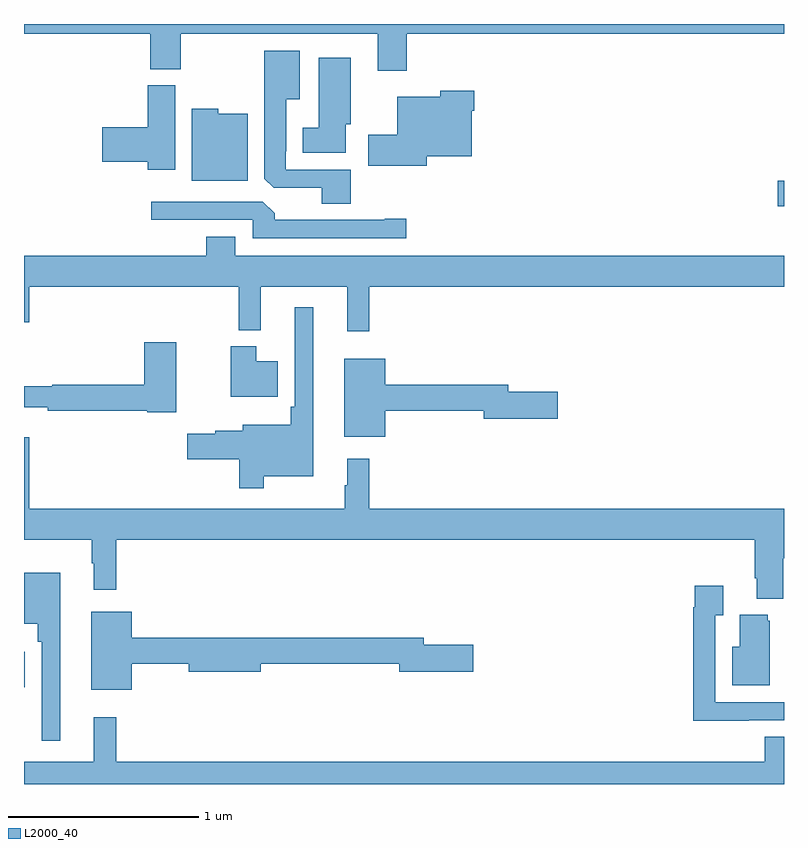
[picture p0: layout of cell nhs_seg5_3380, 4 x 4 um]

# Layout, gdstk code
import gdstk
lib = gdstk.Library(unit=1e-6, precision=1e-09)
def R(c, l, rs):  # rectangles x0, y0, x1, y1
    for r in rs: c.add(gdstk.rectangle(r[:2], r[2:], *l))
def P(c, l, *ps):  # polygons
    for p in ps: c.add(gdstk.Polygon(p, *l))
L2000_40 = (2000, 40)

nhs_seg5_3380 = lib.new_cell('nhs_seg5_3380')
R(nhs_seg5_3380, L2000_40, [(309,865.307,309.004,865.495), (312.966,867.839,313,867.974)])
P(nhs_seg5_3380, L2000_40, [(311.015,868.748),(313,868.748),(313,868.799),(309,868.799),(309,868.748),(309.665,868.748),(309.665,868.561),(309.825,868.561),(309.825,868.748),(310.862,868.748),(310.862,868.554),(311.015,868.554)],
  [(310.721,868.032),(310.377,868.032),(310.377,868.129),(310.381,868.129),(310.381,868.403),(310.45,868.403),(310.45,868.657),(310.265,868.657),(310.265,867.985),(310.314,867.936),(310.568,867.936),(310.568,867.853),(310.721,867.853)],
  [(310.693,868.272),(310.72,868.272),(310.72,868.621),(310.55,868.621),(310.55,868.252),(310.466,868.252),(310.466,868.121),(310.693,868.121)],
  [(309.796,868.476),(309.65,868.476),(309.65,868.256),(309.411,868.256),(309.411,868.073),(309.65,868.073),(309.65,868.032),(309.796,868.032)],
  [(311.119,868.103),(311.356,868.103),(311.356,868.343),(311.369,868.343),(311.369,868.447),(311.191,868.447),(311.191,868.417),(310.964,868.417),(310.964,868.215),(310.812,868.215),(310.812,868.052),(311.119,868.052)],
  [(310.177,868.327),(310.023,868.327),(310.023,868.354),(309.884,868.354),(309.884,867.974),(310.177,867.974)],
  [(311.011,867.773),(310.898,867.773),(310.898,867.768),(310.319,867.768),(310.319,867.802),(310.257,867.864),(309.669,867.864),(309.669,867.768),(310.203,867.768),(310.203,867.672),(311.011,867.672)],
  [(310.817,867.416),(313,867.416),(313,867.58),(310.111,867.58),(310.111,867.679),(309.959,867.679),(309.959,867.58),(309,867.58),(309,867.228),(309.028,867.228),(309.028,867.416),(310.129,867.416),(310.129,867.188),(310.247,867.188),(310.247,867.416),(310.7,867.416),(310.7,867.183),(310.817,867.183)],
  [(310.261,866.42),(310.522,866.42),(310.522,867.307),(310.425,867.307),(310.425,866.785),(310.405,866.785),(310.405,866.689),(310.151,866.689),(310.151,866.659),(310.007,866.659),(310.007,866.642),(309.858,866.642),(309.858,866.507),(310.132,866.507),(310.132,866.355),(310.261,866.355)],
  [(309.802,867.124),(309.632,867.124),(309.632,866.9),(309.148,866.9),(309.148,866.893),(309,866.893),(309,866.783),(309.124,866.783),(309.124,866.764),(309.648,866.764),(309.648,866.756),(309.802,866.756)],
  [(310.336,867.025),(310.222,867.025),(310.222,867.103),(310.088,867.103),(310.088,866.837),(310.336,866.837)],
  [(310.9,866.764),(311.42,866.764),(311.42,866.722),(311.809,866.722),(311.809,866.864),(311.548,866.864),(311.548,866.9),(310.9,866.9),(310.9,867.037),(310.685,867.037),(310.685,866.627),(310.9,866.627)],
  [(312.997,865.988),(313,865.988),(313,866.248),(310.817,866.248),(310.817,866.512),(310.7,866.512),(310.7,866.372),(310.689,866.372),(310.689,866.248),(309.028,866.248),(309.028,866.623),(309,866.623),(309,866.084),(309.357,866.084),(309.357,865.961),(309.368,865.961),(309.368,865.821),(309.485,865.821),(309.485,866.084),(312.845,866.084),(312.845,865.882),(312.857,865.882),(312.857,865.775),(312.997,865.775)],
  [(309.19,865.912),(309,865.912),(309,865.643),(309.073,865.643),(309.073,865.547),(309.093,865.547),(309.093,865.026),(309.19,865.026)],
  [(312.815,865.134),(313,865.134),(313,865.23),(312.639,865.23),(312.639,865.687),(312.679,865.687),(312.679,865.843),(312.531,865.843),(312.531,865.73),(312.523,865.73),(312.523,865.133),(312.815,865.133)],
  [(309.568,865.432),(309.866,865.432),(309.866,865.39),(310.246,865.39),(310.246,865.432),(310.976,865.432),(310.976,865.39),(311.365,865.39),(311.365,865.532),(311.104,865.532),(311.104,865.568),(309.568,865.568),(309.568,865.705),(309.353,865.705),(309.353,865.295),(309.568,865.295)],
  [(312.925,865.659),(312.914,865.659),(312.914,865.69),(312.767,865.69),(312.767,865.522),(312.728,865.522),(312.728,865.319),(312.925,865.319)],
  [(313,865.049),(312.899,865.049),(312.899,864.916),(309.485,864.916),(309.485,865.15),(309.368,865.15),(309.368,864.916),(309,864.916),(309,864.799),(313,864.799)])

lib.write_gds('nhs_seg5_3380.gds')
